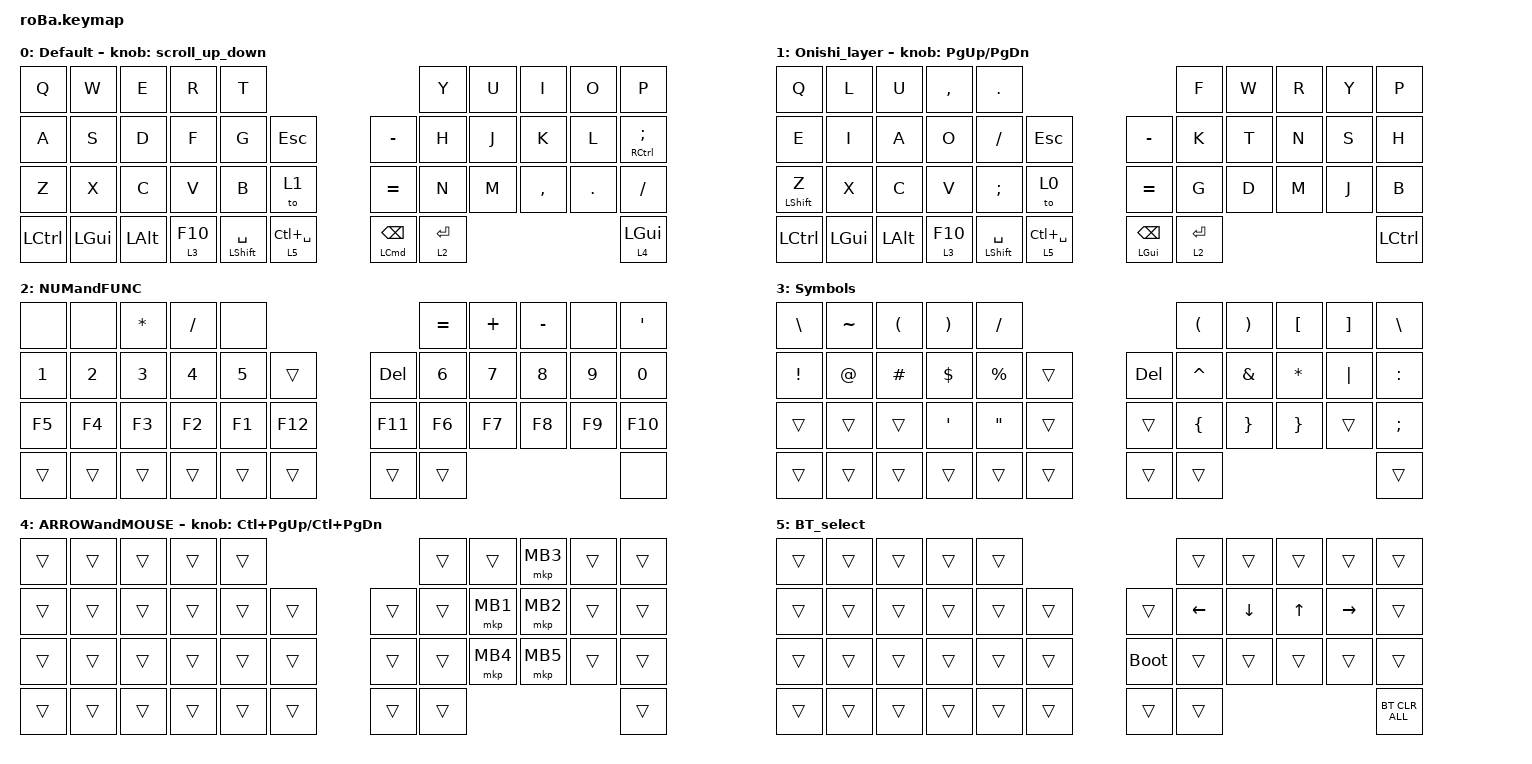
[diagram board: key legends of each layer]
#include <behaviors.dtsi>
#include <dt-bindings/zmk/bt.h>
#include <dt-bindings/zmk/keys.h>
#include <dt-bindings/zmk/pointing.h>

#define ZMK_POINTING_DEFAULT_SCRL_VAL 100
#define MOUSE 4
#define SCROLL 5
#define NUM 6

&mt {
    flavor = "balanced";
    quick-tap-ms = <0>;
};

/ {
    combos {
        compatible = "zmk,combos";

        tab {
            bindings = <&kp TAB>;
            key-positions = <11 12>;
        };

        switch_to_BT0 {
            bindings = <&bt BT_SEL 0>;
            key-positions = <18 19>;
        };

        switch_to_BT1 {
            bindings = <&bt BT_SEL 1>;
            key-positions = <30 31>;
        };

        switch_to_BT4 {
            bindings = <&bt BT_SEL 4>;
            key-positions = <21 20>;
        };

        switch_to_BT3 {
            bindings = <&bt BT_SEL 3>;
            key-positions = <32 33>;
        };

        escape {
            bindings = <&kp ESCAPE>;
            key-positions = <0 1>;
        };

        delete {
            bindings = <&kp DELETE>;
            key-positions = <9 21>;
        };
    };

    macros {
        to_layer_0: to_layer_0 {
            compatible = "zmk,behavior-macro-one-param";
            #binding-cells = <1>;
            bindings = <&to 0 &macro_param_1to1 &kp MACRO_PLACEHOLDER>;
            label = "TO_LAYER_0";
        };
    };

    behaviors {
        lt_to_layer_0: lt_to_layer_0 {
            compatible = "zmk,behavior-hold-tap";
            label = "LAYER_TAP_TO_0";
            bindings = <&mo>, <&to_layer_0>;

            #binding-cells = <2>;
            tapping-term-ms = <200>;
        };

        scroll_up_down: behavior_sensor_rotate_mouse_wheel_up_down {
            compatible = "zmk,behavior-sensor-rotate";
            #sensor-binding-cells = <0>;
            bindings = <&msc SCRL_UP>, <&msc SCRL_DOWN>;

            // 追加: スクロールのタップ時間を設定 (20ms)

            tap-ms = <20>;
        };
    };

    keymap {
        compatible = "zmk,keymap";

        Default {
            bindings = <
&kp Q      &kp W         &kp E         &kp R                 &kp T                                                                             &kp Y        &kp U  &kp I      &kp O    &kp P
&kp A      &kp S         &kp D         &kp F                 &kp G                 &kp ESCAPE                      &kp MINUS                   &kp H        &kp J  &kp K      &kp L    &mt RCTRL SEMICOLON
&kp Z      &kp X         &kp C         &kp V                 &kp B                 &to 1                           &kp EQUAL                   &kp N        &kp M  &kp COMMA  &kp DOT  &kp SLASH
&kp LCTRL  &kp LEFT_GUI  &kp LEFT_ALT  &lt_to_layer_0 3 F10  &mt LEFT_SHIFT SPACE  &lt_to_layer_0 5 LC(SPACE)      &mt LEFT_COMMAND BACKSPACE  &lt 2 ENTER                             &lt 4 LEFT_GUI
            >;

            sensor-bindings = <&scroll_up_down>;
        };

        Onishi_layer {
            bindings = <
&kp Q             &kp L         &kp U         &kp COMMA             &kp DOT                                                                       &kp F        &kp W  &kp R  &kp Y  &kp P
&kp E             &kp I         &kp A         &kp O                 &kp FSLH              &kp ESCAPE                      &kp MINUS               &kp K        &kp T  &kp N  &kp S  &kp H
&mt LEFT_SHIFT Z  &kp X         &kp C         &kp V                 &kp SEMI              &to 0                           &kp EQUAL               &kp G        &kp D  &kp M  &kp J  &kp B
&kp LCTRL         &kp LEFT_GUI  &kp LEFT_ALT  &lt_to_layer_0 3 F10  &mt LEFT_SHIFT SPACE  &lt_to_layer_0 5 LC(SPACE)      &mt LEFT_GUI BACKSPACE  &lt 2 ENTER                       &kp LCTRL
            >;

            sensor-bindings = <&inc_dec_kp PG_UP PAGE_DOWN>;
        };

        NUMandFUNC {
            bindings = <
&none         &none   &kp ASTERISK  &kp SLASH  &none                            &kp EQUAL  &kp PLUS  &kp MINUS  &none   &kp SINGLE_QUOTE
&kp NUMBER_1  &kp N2  &kp N3        &kp N4     &kp N5  &trans       &kp DELETE  &kp N6     &kp N7    &kp N8     &kp N9  &kp N0
&kp F5        &kp F4  &kp F3        &kp F2     &kp F1  &kp F12      &kp F11     &kp F6     &kp F7    &kp F8     &kp F9  &kp F10
&trans        &trans  &trans        &trans     &trans  &trans       &trans      &trans                                  &none
            >;
        };

        Symbols {
            bindings = <
&kp BACKSLASH  &kp TILDE  &kp LEFT_PARENTHESIS  &kp RIGHT_PARENTHESIS  &kp SLASH                                  &kp LEFT_PARENTHESIS  &kp RIGHT_PARENTHESIS  &kp LEFT_BRACKET  &kp RIGHT_BRACKET  &kp BACKSLASH
&kp EXCL       &kp AT     &kp HASH              &kp DOLLAR             &kp PERCENT        &trans      &kp DELETE  &kp CARET             &kp AMPERSAND          &kp ASTERISK      &kp PIPE           &kp COLON
&trans         &trans     &trans                &kp APOS               &kp DOUBLE_QUOTES  &trans      &trans      &kp LEFT_BRACE        &kp RIGHT_BRACE        &kp RIGHT_BRACE   &trans             &kp SEMI
&trans         &trans     &trans                &trans                 &trans             &trans      &trans      &trans                                                                            &trans
            >;
        };

        ARROWandMOUSE {
            bindings = <
&trans  &trans  &trans  &trans  &trans                      &trans  &trans    &mkp MB3  &trans  &trans
&trans  &trans  &trans  &trans  &trans  &trans      &trans  &trans  &mkp MB1  &mkp MB2  &trans  &trans
&trans  &trans  &trans  &trans  &trans  &trans      &trans  &trans  &mkp MB4  &mkp MB5  &trans  &trans
&trans  &trans  &trans  &trans  &trans  &trans      &trans  &trans                              &trans
            >;

            sensor-bindings = <&inc_dec_kp LC(PAGE_UP) LC(PAGE_DOWN)>;
        };

        BT_select {
            bindings = <
&trans  &trans  &trans  &trans  &trans                           &trans    &trans          &trans        &trans           &trans
&trans  &trans  &trans  &trans  &trans  &trans      &trans       &kp LEFT  &kp DOWN_ARROW  &kp UP_ARROW  &kp RIGHT_ARROW  &trans
&trans  &trans  &trans  &trans  &trans  &trans      &bootloader  &trans    &trans          &trans        &trans           &trans
&trans  &trans  &trans  &trans  &trans  &trans      &trans       &trans                                                   &bt BT_CLR_ALL
            >;
        };
    };
};
